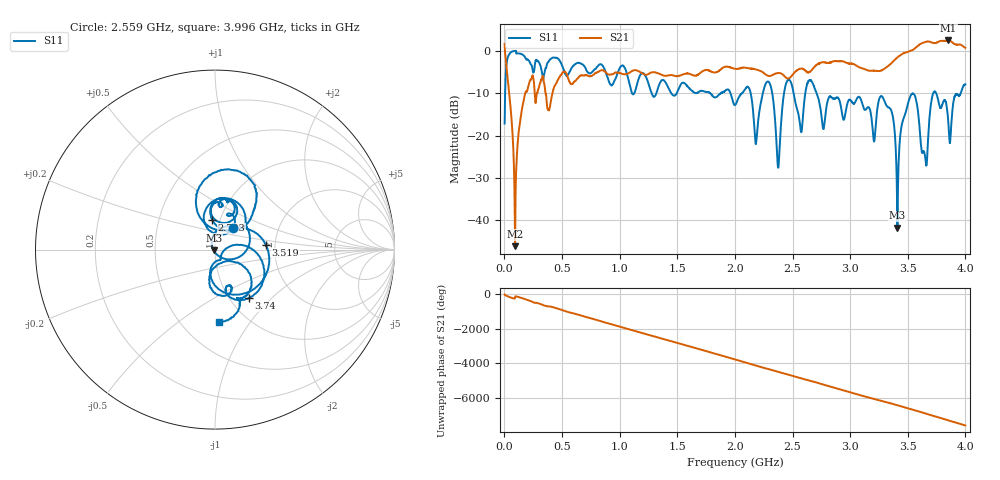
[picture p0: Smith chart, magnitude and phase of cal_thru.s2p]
!Created with skrf (http://scikit-rf.org).
# GHz S RI R 50.0
!freq ReS11 ImS11 ReS21 ImS21 ReS12 ImS12 ReS22 ImS22
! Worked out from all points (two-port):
!   4000 points, 1 MHz to 4 GHz, reference 50 ohm
!   highest |S21| = 2.57 dB at 3.852 GHz (marker M1); lowest = -46.2 dB at 92 MHz (marker M2)
!   |S21| within 3 dB of the highest: start of sweep to 5.312 MHz; 3.471 GHz to end of sweep (the widest 2 of 3)
!   lowest |S11| = -41.8 dB at 3.41 GHz (marker M3), VSWR 1.02, Z = 49.3 - j0.411 ohm
!   |S11| at or under -10 dB: 2.709 GHz to 3.541 GHz (832.3 MHz wide, 26.6 % of centre); 3.546 GHz to 3.721 GHz (175.1 MHz wide, 4.82 % of centre); 3.748 GHz to 3.959 GHz (210.5 MHz wide, 5.46 % of centre) (the widest 3 of 12)
!   S12 and S22 are empty: the file has one direction only
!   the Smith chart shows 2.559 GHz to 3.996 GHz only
!   S11 on the Smith chart (normalised r, x): 2.559 GHz: 1.18, +0.29; 2.783 GHz: 0.92, +0.31; 3.519 GHz: 1.79, +0.10; 3.74 GHz: 1.22, -0.74; 3.996 GHz: 0.75, -0.72
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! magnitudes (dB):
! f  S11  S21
! 1 MHz  -17.1  1.7
! 92 MHz  0.1  -46.2
! 230 MHz  -3.1  -6.7
! 668 MHz  -3.0  -5.7
! 1.334 GHz  -8.6  -5.2
! 2.001 GHz  -12.7  -4.2
! 2.118 GHz  -8.6  -4.0
! 2.184 GHz  -21.7  -4.3
! 2.294 GHz  -7.3  -5.9
! 2.375 GHz  -27.6  -5.2
! 2.456 GHz  -6.9  -6.5
! 2.559 GHz  -16.2  -4.2
! 2.667 GHz  -7.2  -4.5
! 2.783 GHz  -15.6  -2.7
! 3.334 GHz  -13.3  -3.4
! 3.41 GHz  -41.8  -1.5
! 3.519 GHz  -10.9  0.0
! 3.651 GHz  -25.1  2.2
! 3.74 GHz  -9.6  1.9
! 3.852 GHz  -17.0  2.6
! 3.996 GHz  -7.8  0.9
! 4 GHz  -7.9  0.8
